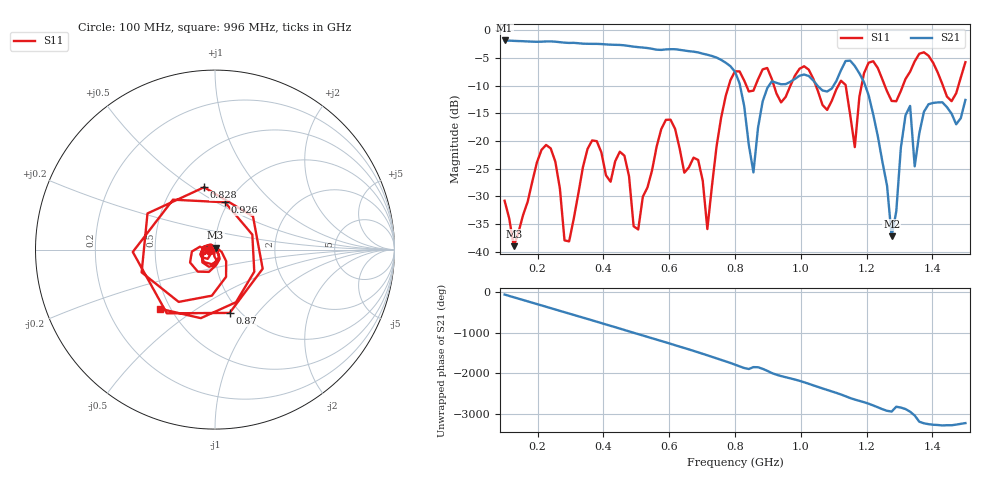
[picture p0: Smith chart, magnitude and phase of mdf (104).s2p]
! NanoVNA-App
! Date: 2025-09-25 15:39:14
! Start: 100MHz Stop: 1,5GHz Points: 101
! S-Parameter data: F S11 S21 S12 S22
# Hz S RI R 50
!  Frequency  S11_Real  S11_Imag  S21_Real  S21_Imag  S12_Real  S12_Imag  S22_Real  S22_Imag
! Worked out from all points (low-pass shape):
!   101 points, 100 MHz to 1.5 GHz, reference 50 ohm
!   highest |S21| = -1.80 dB at 100 MHz (marker M1); lowest = -37.2 dB at 1.276 GHz (marker M2)
!   |S21| within 3 dB of the highest: start of sweep to 739.4 MHz
!   lowest |S11| = -39.0 dB at 128 MHz (marker M3), VSWR 1.02, Z = 50.3 + j1.08 ohm
!   |S11| at or under -10 dB: start of sweep to 781 MHz; 918.5 MHz to 968.1 MHz (49.63 MHz wide, 5.26 % of centre); 1.046 GHz to 1.114 GHz (67.73 MHz wide, 6.27 % of centre) (the widest 3 of 7)
!   S12 and S22 are empty: the file has one direction only
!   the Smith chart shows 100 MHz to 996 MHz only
!   S11 on the Smith chart (normalised r, x): 100 MHz: 0.94, -0.01; 828 MHz: 0.70, +0.56; 870 MHz: 0.90, -0.73; 926 MHz: 0.97, +0.55; 996 MHz: 0.44, -0.36
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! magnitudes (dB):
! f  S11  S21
! 100 MHz  -30.8  -1.8
! 128 MHz  -39.0  -1.9
! 212 MHz  -21.6  -2.0
! 282 MHz  -37.9  -2.2
! 338 MHz  -24.7  -2.4
! 464 MHz  -22.6  -2.7
! 506 MHz  -36.0  -3.0
! 576 MHz  -17.8  -3.5
! 716 MHz  -35.9  -4.4
! 800 MHz  -7.4  -7.5
! 828 MHz  -9.1  -13.7
! 856 MHz  -10.9  -25.6
! 870 MHz  -8.8  -17.6
! 926 MHz  -11.4  -9.5
! 996 MHz  -6.9  -8.2
! 1.038 GHz  -8.7  -9.0
! 1.164 GHz  -21.1  -6.4
! 1.192 GHz  -7.7  -9.3
! 1.276 GHz  -12.7  -37.2
! 1.332 GHz  -7.5  -13.6
! 1.346 GHz  -5.6  -24.6
! 1.5 GHz  -5.7  -12.6
